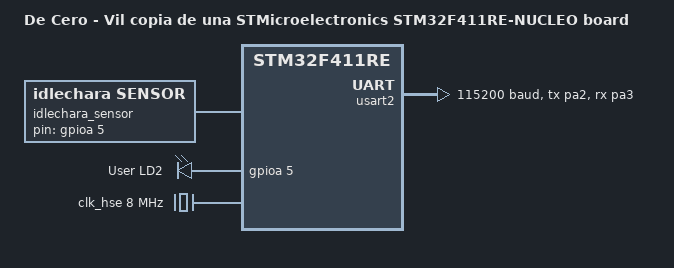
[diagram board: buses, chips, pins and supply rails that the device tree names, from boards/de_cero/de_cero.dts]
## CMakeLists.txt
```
cmake_minimum_required(VERSION 3.20.0)

list(APPEND BOARD_ROOT ${CMAKE_CURRENT_SOURCE_DIR})

find_package(Zephyr REQUIRED)

add_subdirectory(drivers/subsys/our_driver)

project(my_zephyr_app)

target_sources(app PRIVATE src/main.cpp)
```

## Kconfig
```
rsource "drivers/subsys/our_driver/Kconfig"

menu "Default Zephyr configuration"
    source "Kconfig.zephyr"
endmenu
```

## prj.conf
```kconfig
CONFIG_GPIO=y
CONFIG_SERIAL=y
CONFIG_LOG=y
CONFIG_IDLECHARA_SENSOR=y
CONFIG_SHELL=y
CONFIG_SHELL_BACKEND_SERIAL=y
```

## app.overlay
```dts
/ {

    aliases {
        app-led = &green_led_2;
    };
};
```

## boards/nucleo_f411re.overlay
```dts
// root node
/ {
    // already existing on nucleo_f411re.dts
    leds {
        compatible = "gpio-leds";
        custom_led: custom_led {
            gpios = <&gpioa 6 GPIO_ACTIVE_HIGH>;
            label = "Custom LED - Personal testing!";
        };
    };

    aliases {
        // There is no led0 for this board (the existing one is an alias), so we are referencing the reference of led0, which is the green led on the board.
        app-led = &green_led_2;
        assignment-3-led = &custom_led; // haha
    };
};
```

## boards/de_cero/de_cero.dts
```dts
/dts-v1/;
#include <st/f4/stm32f411Xe.dtsi>
#include <st/f4/stm32f411r(c-e)tx-pinctrl.dtsi>

/ {
	model = "De Cero - Vil copia de una STMicroelectronics STM32F411RE-NUCLEO board";
	compatible = "idlechara,de-cero", "st,stm32f411re-nucleo";

	chosen {
		zephyr,console = &usart2;
		zephyr,shell-uart = &usart2;
		zephyr,sram = &sram0;
		zephyr,flash = &flash0;
	};

	idlechara_sensor:idlechara_sensor{
		compatible="idlechara,sensor";	
		pin =  <&gpioa 5 GPIO_ACTIVE_HIGH>;
	};

	leds: leds {
		compatible = "gpio-leds";

		led_feo: led_2 {
			gpios = <&gpioa 5 GPIO_ACTIVE_HIGH>;
			label = "User LD2";
		};
	};

	aliases {
		led0 = &led_feo;
		ledcito = &idlechara_sensor;
	};
};

&clk_lsi {
	status = "okay";
};

&clk_hse {
	hse-bypass;
	clock-frequency = <DT_FREQ_M(8)>; /* STLink 8MHz clock */
	status = "okay";
};

&pll {
	div-m = <8>;
	mul-n = <384>;
	div-p = <4>;
	div-q = <8>;
	clocks = <&clk_hse>;
	status = "okay";
};

&rcc {
	clocks = <&pll>;
	clock-frequency = <DT_FREQ_M(96)>;
	ahb-prescaler = <1>;
	apb1-prescaler = <2>;
	apb2-prescaler = <1>;
};

&usart2 {
	pinctrl-0 = <&usart2_tx_pa2 &usart2_rx_pa3>;
	pinctrl-names = "default";
	current-speed = <115200>;
	status = "okay";
};
```

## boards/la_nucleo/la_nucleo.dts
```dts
/*
 * Copyright (c) 2017 Linaro Limited
 *
 * SPDX-License-Identifier: Apache-2.0
 */

/dts-v1/;
#include <st/f4/stm32f411Xe.dtsi>
#include <st/f4/stm32f411r(c-e)tx-pinctrl.dtsi>
#include "arduino_r3_connector.dtsi"
#include "st_morpho_connector.dtsi"
#include <zephyr/dt-bindings/input/input-event-codes.h>

/ {
	model = "La Nucleo - Vil copia de una STMicroelectronics STM32F411RE-NUCLEO board";
	compatible = "idlechara,la-nucleo", "st,stm32f411re-nucleo";

	chosen {
		zephyr,console = &usart2;
		zephyr,shell-uart = &usart2;
		zephyr,sram = &sram0;
		zephyr,flash = &flash0;
	};

	leds: leds {
		compatible = "gpio-leds";

		green_led_2: led_2 {
			gpios = <&gpioa 5 GPIO_ACTIVE_HIGH>;
			label = "User LD2";
		};
	};

	gpio_keys {
		compatible = "gpio-keys";

		user_button: button {
			label = "User";
			gpios = <&gpioc 13 GPIO_ACTIVE_LOW>;
			zephyr,code = <INPUT_KEY_0>;
		};
	};

	aliases {
		led0 = &green_led_2;
		sw0 = &user_button;
	};
};

&clk_lsi {
	status = "okay";
};

&clk_hse {
	hse-bypass;
	clock-frequency = <DT_FREQ_M(8)>; /* STLink 8MHz clock */
	status = "okay";
};

&pll {
	div-m = <8>;
	mul-n = <384>;
	div-p = <4>;
	div-q = <8>;
	clocks = <&clk_hse>;
	status = "okay";
};

&rcc {
	clocks = <&pll>;
	clock-frequency = <DT_FREQ_M(96)>;
	ahb-prescaler = <1>;
	apb1-prescaler = <2>;
	apb2-prescaler = <1>;
};

&usart1 {
	pinctrl-0 = <&usart1_tx_pb6 &usart1_rx_pb7>;
	pinctrl-names = "default";
	current-speed = <115200>;
	status = "okay";
};

&usart2 {
	pinctrl-0 = <&usart2_tx_pa2 &usart2_rx_pa3>;
	pinctrl-names = "default";
	current-speed = <115200>;
	status = "okay";
};

&i2c1 {
	pinctrl-0 = <&i2c1_scl_pb8 &i2c1_sda_pb9>;
	pinctrl-names = "default";
	status = "okay";
	clock-frequency = <I2C_BITRATE_FAST>;
};

&i2c2 {
	pinctrl-0 = <&i2c2_scl_pb10 &i2c2_sda_pb3>;
	pinctrl-names = "default";
	clock-frequency = <I2C_BITRATE_FAST>;
};

&i2c3 {
	pinctrl-0 = <&i2c3_scl_pa8 &i2c3_sda_pb4>;
	pinctrl-names = "default";
	clock-frequency = <I2C_BITRATE_FAST>;
};

&i2s1 {
	pinctrl-0 = <&i2s1_ck_pa5 &i2s1_sd_pa7>;
	pinctrl-names = "default";
};

&spi1 {
	pinctrl-0 = <&spi1_nss_pa4 &spi1_sck_pa5
		     &spi1_miso_pa6 &spi1_mosi_pa7>;
	pinctrl-names = "default";
	status = "okay";
};

&rtc {
	clocks = <&rcc STM32_CLOCK_BUS_APB1 0x10000000>,
		 <&rcc STM32_SRC_LSI RTC_SEL(2)>;
	status = "okay";
};
```

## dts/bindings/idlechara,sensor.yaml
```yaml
description: My cool sensor
compatible: idlechara,sensor
include: base.yaml

properties:
  pin:
    type: phandle-array
    specifier-space: gpio
    required: true
    description: pin connected
```

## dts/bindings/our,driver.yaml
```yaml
description: My cool sensor
compatible: our,driver
include: base.yaml

properties:
  pin:
    type: phandle-array
    specifier-space: gpio
    required: true
    description: pin connected
```

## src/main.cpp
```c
#include <zephyr/kernel.h>
#include <zephyr/logging/log.h>
#include <idlechara_sensor.h>
#include <zephyr/shell/shell.h>

#define SLEEP_TIME_MS 500

static const struct device *my_sensor = DEVICE_DT_GET(DT_NODELABEL(idlechara_sensor));

LOG_MODULE_REGISTER(main, LOG_LEVEL_INF);

static int cmd_sensor_fetch(const struct shell *shell, size_t argc, char **argv)
{
    ARG_UNUSED(argc);
    ARG_UNUSED(argv);
    int rc = sensor_sample_fetch(my_sensor);
    if (rc <0) {
        shell_print(shell, "fetch did not succeed :c %d", rc);
        return -1;
    }
    shell_print(shell, "fetch done - led is on!");
    return 0;
}

static int cmd_sensor_read(const struct shell *shell, size_t argc, char **argv)
{
    ARG_UNUSED(argc);
    ARG_UNUSED(argv);
    struct sensor_value val;
    int rc = sensor_channel_get(my_sensor, SENSOR_CHAN_GREEN, &val);
    if (rc <0) {
        shell_print(shell, "get did not succeed :c %d", rc);
        return -1;
    }
    shell_print(shell, "get done - led is off!");
    return 0;
}

// command sensor with two subcomands, fetch and read 
static int cmd_sensor(const struct shell *shell, size_t argc, char **argv)
{
    if (argc < 2) {
        shell_print(shell, "Usage: sensor <fetch|read|info|set>");
        return -1;
    }

    shell_print(shell, "Sensor command received: %s", argv[1]);

    return 0;
}

static int cmd_sensor_info(const struct shell *shell, size_t argc, char **argv)
{
    ARG_UNUSED(argc);
    ARG_UNUSED(argv);
    shell_print(shell, "Device (sensor) Name: %s", my_sensor->name);
    shell_print(shell, "Ready state: %s", device_is_ready(my_sensor) ? "Ready" : "Not Ready");
    return 0;
}

static int cmd_sensor_set(const struct shell *shell, size_t argc, char **argv)
{
    char *endptr;
    errno = 0;
    ARG_UNUSED(argc);
    long value = strtol(argv[1], &endptr, 10);
    if (*endptr != '\0' || value < 0 || value > 100 || errno == ERANGE || endptr == argv[1]) {
        shell_error(shell, "Invalid value: %s. Please enter a valid integer between 0 and 100.", argv[1]);
        return -1;
    }
    idlechara_sensor_set_data(my_sensor, (int)value);
    shell_print(shell, "Sensor data set to: %d", (int)value);
    return 0;
}

SHELL_STATIC_SUBCMD_SET_CREATE(sub_sensor, 
    SHELL_CMD(fetch, NULL, "Fetch sensor data", cmd_sensor_fetch),
    SHELL_CMD(read, NULL, "Read sensor data", cmd_sensor_read),
    SHELL_CMD(info, NULL, "Get sensor info", cmd_sensor_info),
    SHELL_CMD_ARG(set, NULL, "Set sensor data", cmd_sensor_set, 2, 0),
    SHELL_SUBCMD_SET_END
);

SHELL_CMD_REGISTER(sensor, &sub_sensor, "Custom sensor commands", cmd_sensor);


int main(void)
{
    bool led_state = true;

    if(!device_is_ready(my_sensor)){
        return 0;
    }
    // while (1) {
        // led_state = !led_state;
        // int rc = sensor_sample_fetch(my_sensor);
        // if (rc <0) { 
        //     LOG_ERR("fetch did not succeed :c %d", rc);
        //     k_msleep(SLEEP_TIME_MS);    
        //     continue;
        // }
        // LOG_INF("fetch done - led is on!");
        // k_msleep(SLEEP_TIME_MS);


        // struct sensor_value val;
        // rc = sensor_channel_get(my_sensor, SENSOR_CHAN_GREEN, &val);
        // if (rc <0) { 
        //     LOG_ERR("get did not succeed :c %d", rc);
        //     k_msleep(SLEEP_TIME_MS);    
        //     continue;
        // }
        // LOG_INF("get done - led is off! ticks?=%d", val.val1);
        // k_msleep(SLEEP_TIME_MS);

        // // the  special function!
        // idlechara_sensor_set_data(my_sensor, ++val.val1);
    // }
    return 0;
}
```

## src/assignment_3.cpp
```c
#ifdef CONFIG_ENABLE_ASSIGNMENT_3_LOGIC
#include <zephyr/kernel.h>
#include <zephyr/device.h>
#include <zephyr/devicetree.h>
#include <zephyr/drivers/gpio.h>
#include <zephyr/logging/log.h>
#include <string.h>

LOG_MODULE_REGISTER(main, LOG_LEVEL_INF);

#define HEARTBEAT_THREAD_STACK_SIZE 512
#define HEARTBEAT_THREAD_PRIORITY 7

#define LED_NODE DT_ALIAS(assignment_3_led)
static const struct gpio_dt_spec led = GPIO_DT_SPEC_GET(LED_NODE, gpios);


void heartbeat_thread_fn(void *arg1, void *arg2, void *arg3)
{
    ARG_UNUSED(arg1);
    ARG_UNUSED(arg2);
    ARG_UNUSED(arg3);

    if (!gpio_is_ready_dt(&led)) return;

    if (gpio_pin_configure_dt(&led, GPIO_OUTPUT_ACTIVE) < 0) return;

    /* Log configuration for testing */
    LOG_INF("=== LED Config ===");
    LOG_INF("Blink time: %d ms", CONFIG_LED_BLINKING_TIME_MILIS);
    LOG_INF("Brightness: %d%%", CONFIG_LED_BRIGHTNESS);
    LOG_INF("Fade duration: %d ms", CONFIG_LED_FADE_DURATION);
    #ifdef CONFIG_ENABLE_LED_DEBUGGING
        LOG_INF("Debug: ENABLED");
        LOG_INF("Custom pattern: %s", CONFIG_CUSTOM_BLINK_PATTERN);
    #endif

    while (1) {

        #ifdef CONFIG_ENABLE_EXPERT_SETTINGS
            /* Use custom pattern if expert settings enabled */
            static const char *pattern = CONFIG_CUSTOM_BLINK_PATTERN;
            static uint32_t pattern_len = 0;
            static uint32_t pattern_idx = 0;


            if (pattern_len == 0) pattern_len = strlen(pattern);

            bool state = (pattern[pattern_idx] == '1');
            pattern_idx = (pattern_idx + 1) % pattern_len;

            if (state) {
                gpio_pin_set_dt(&led, 1);
                if (CONFIG_ENABLE_LED_DEBUGGING) LOG_INF("LED ON");
            } else {
                gpio_pin_set_dt(&led, 0);
                if (CONFIG_ENABLE_LED_DEBUGGING) LOG_INF("LED OFF");
            }
            k_msleep(CONFIG_LED_FADE_DURATION);
        #else
            /* Default simple blink */
            if (gpio_pin_toggle_dt(&led) < 0) return;
            LOG_INF("LED toggle");
            k_msleep(CONFIG_LED_BLINKING_TIME_MILIS);
        #endif /* END CONFIG_ENABLE_EXPERT_SETTINGS */
    }
}

K_THREAD_DEFINE(heartbeat_tid, HEARTBEAT_THREAD_STACK_SIZE,
                heartbeat_thread_fn, NULL, NULL, NULL,
                HEARTBEAT_THREAD_PRIORITY, 0, 0);
#endif /* CONFIG_ENABLE_ASSIGNMENT_3_LOGIC */
```

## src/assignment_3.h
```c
#ifndef ASSIGNMENT_3_H
#define ASSIGNMENT_3_H

#pragma once

#ifdef __cplusplus
extern "C" {
#endif

#include <zephyr/kernel.h>

/* Assignment 3 - Heartbeat LED Thread */

/* Thread function for the heartbeat LED */
void heartbeat_thread_fn(void *arg1, void *arg2, void *arg3);

/* External reference to the heartbeat thread */
extern struct k_thread heartbeat_tid;

#ifdef __cplusplus
}
#endif

#endif /* ASSIGNMENT_3_H */
```
